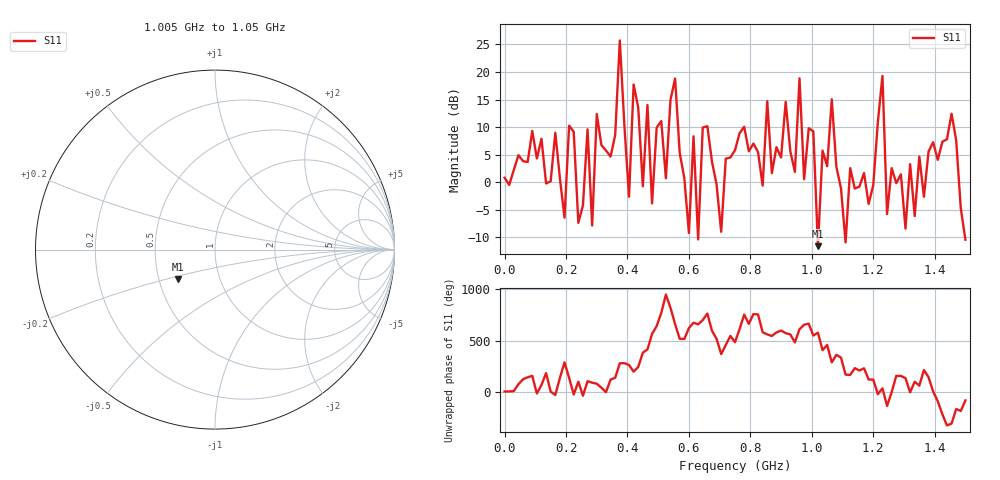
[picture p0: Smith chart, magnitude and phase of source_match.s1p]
! Created with skrf 1.8.0 (http://scikit-rf.org).
# Hz S RI R 50.0
!freq ReS11 ImS11
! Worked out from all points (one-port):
!   101 points, 50 kHz to 1.5 GHz, reference 50 ohm
!   lowest |S11| = -11.6 dB at 1.02 GHz (marker M1), VSWR 1.71, Z = 31.5 - j11.1 ohm
!   |S11| at or under -10 dB: 629.7094 MHz to 630.3235 MHz (614.1 kHz wide, 0.0975 % of centre); 1.018848 GHz to 1.02142 GHz (2.572 MHz wide, 0.252 % of centre); 1.10856 GHz to 1.111073 GHz (2.513 MHz wide, 0.226 % of centre) (the widest 3 of 4)
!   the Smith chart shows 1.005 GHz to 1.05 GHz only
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50000  1.086 0.1338
1.950435e8  0.1622 -0.4476
3.60038e8  -2.072 1.704
3.750375e8  3.761 -18.96
3.90037e8  0.6697 -3.175
4.050365e8  -0.0709 -0.7349
4.20036e8  -7.264 -2.553
4.650345e8  2.793 4.164
4.950335e8  0.6642 -3.058
5.40032e8  -0.9844 5.503
5.550315e8  4.579 -7.423
5.70031e8  -1.72 0.656
6.450285e8  2.97 -0.9925
7.50025e8  -1.137 1.584
7.650245e8  -0.7487 -2.687
8.550215e8  -5.043 -2.008
9.450185e8  -0.6901 1.029
9.60018e8  -2.689 -8.337
9.750175e8  0.4603 -0.959
1.020016e9  -0.2051 -0.1636
1.050015e9  -0.2229 1.376
1.065014e9  1.984 -5.292
1.125012e9  -1.309 0.2835
1.21501e9  3.304 -1.153
1.230009e9  7.287 5.635
1.245008e9  -0.3569 -0.3682
1.320006e9  1.456 -0.0338
1.5e9  0.053 -0.2957
